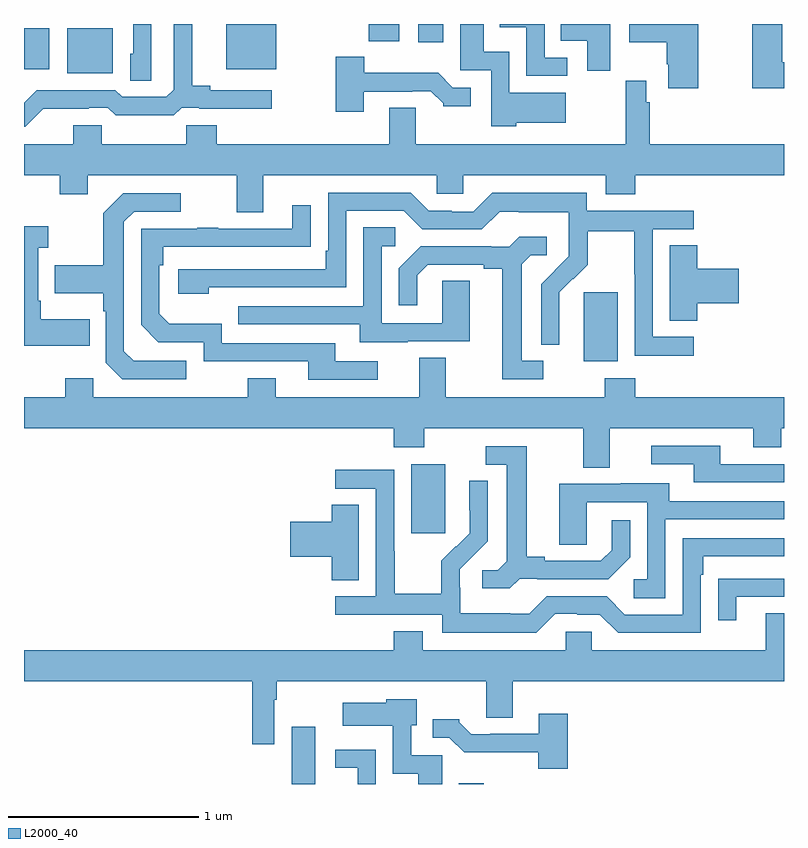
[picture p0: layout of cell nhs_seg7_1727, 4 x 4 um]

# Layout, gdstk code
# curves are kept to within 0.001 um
import gdstk
lib = gdstk.Library(unit=1e-6, precision=1e-09)
def R(c, l, rs):  # rectangles x0, y0, x1, y1
    for r in rs: c.add(gdstk.rectangle(r[:2], r[2:], *l))
def P(c, l, *ps):  # polygons
    for p in ps: c.add(gdstk.Polygon(p, *l))
L2000_40 = (2000, 40)

nhs_seg7_1727 = lib.new_cell('nhs_seg7_1727')
R(nhs_seg7_1727, L2000_40, [(228.41,1076,228.532,1076.302), (229.289,1076,229.42,1076.005), (229.037,1077.321,229.216,1077.682), (229.946,1078.226,230.125,1078.587), (227.228,1079.741,227.467,1079.977), (227,1079.762,227.134,1079.977), (228.065,1079.762,228.328,1080), (229.076,1079.904,229.207,1080), (228.814,1079.909,228.976,1080)])
P(nhs_seg7_1727, L2000_40, [(230.086,1079.998),(230.084,1080),(229.825,1080),(229.825,1079.912),(229.964,1079.912),(229.964,1079.754),(230.086,1079.754)],
  [(227.102,1079.555),(227.342,1079.555),(227.342,1079.559),(227.442,1079.559),(227.482,1079.52),(227.789,1079.52),(227.829,1079.559),(227.923,1079.559),(227.923,1079.555),(228.304,1079.555),(228.304,1079.652),(227.98,1079.652),(227.98,1079.675),(227.885,1079.675),(227.885,1080),(227.787,1080),(227.787,1079.655),(227.748,1079.616),(227.517,1079.616),(227.481,1079.652),(227.067,1079.652),(227,1079.585),(227,1079.46),(227.007,1079.46)],
  [(231,1079.798),(230.992,1079.798),(230.992,1080),(230.834,1080),(230.834,1079.662),(231,1079.662)],
  [(230.548,1080),(230.186,1080),(230.186,1079.903),(230.383,1079.903),(230.383,1079.788),(230.39,1079.788),(230.39,1079.661),(230.548,1079.661)],
  [(227.67,1080),(227.574,1080),(227.574,1079.844),(227.558,1079.844),(227.558,1079.701),(227.67,1079.701)],
  [(229.858,1079.823),(229.74,1079.823),(229.74,1080),(229.505,1080),(229.505,1079.984),(229.644,1079.984),(229.644,1079.727),(229.858,1079.727)],
  [(229.59,1079.48),(229.852,1079.48),(229.852,1079.638),(229.554,1079.638),(229.554,1079.854),(229.42,1079.854),(229.42,1080),(229.295,1080),(229.295,1079.757),(229.458,1079.757),(229.458,1079.462),(229.59,1079.462)],
  [(228.787,1079.643),(229.043,1079.643),(229.043,1079.646),(229.142,1079.646),(229.206,1079.582),(229.206,1079.567),(229.351,1079.567),(229.351,1079.664),(229.257,1079.664),(229.179,1079.743),(228.79,1079.743),(228.79,1079.827),(228.64,1079.827),(228.64,1079.538),(228.787,1079.538)],
  [(228.259,1079.204),(229.173,1079.204),(229.173,1079.106),(229.311,1079.106),(229.311,1079.204),(230.063,1079.204),(230.063,1079.105),(230.216,1079.105),(230.216,1079.204),(231,1079.204),(231,1079.368),(230.294,1079.368),(230.294,1079.588),(230.274,1079.588),(230.274,1079.701),(230.166,1079.701),(230.166,1079.368),(229.063,1079.368),(229.063,1079.558),(228.923,1079.558),(228.923,1079.368),(228.014,1079.368),(228.014,1079.466),(227.854,1079.466),(227.854,1079.368),(227.409,1079.368),(227.409,1079.466),(227.258,1079.466),(227.258,1079.368),(227,1079.368),(227,1079.204),(227.188,1079.204),(227.188,1079.105),(227.335,1079.105),(227.335,1079.204),(228.119,1079.204),(228.119,1079.01),(228.259,1079.01)],
  [(230.524,1078.353),(230.31,1078.353),(230.31,1078.92),(230.524,1078.92),(230.524,1079.016),(229.962,1079.016),(229.962,1079.113),(229.465,1079.113),(229.365,1079.013),(229.25,1079.013),(229.25,1079.016),(229.131,1079.016),(229.035,1079.112),(228.6,1079.112),(228.6,1078.807),(228.587,1078.807),(228.587,1078.71),(227.811,1078.71),(227.811,1078.58),(227.972,1078.58),(227.972,1078.614),(228.696,1078.614),(228.696,1079.016),(228.999,1079.016),(229.095,1078.92),(229.41,1078.92),(229.503,1079.013),(229.603,1079.013),(229.603,1079.009),(229.866,1079.009),(229.866,1078.875),(229.868,1078.875),(229.868,1078.778),(229.722,1078.63),(229.722,1078.312),(229.818,1078.312),(229.817,1078.589),(229.887,1078.659),(229.89,1078.656),(229.967,1078.733),(229.967,1078.908),(230.212,1078.908),(230.212,1078.684),(230.214,1078.684),(230.214,1078.255),(230.524,1078.255)],
  [(227.854,1078.227),(227.577,1078.227),(227.526,1078.278),(227.526,1078.959),(227.58,1079.013),(227.824,1079.013),(227.824,1079.109),(227.523,1079.109),(227.418,1079.003),(227.418,1078.731),(227.161,1078.731),(227.161,1078.583),(227.418,1078.583),(227.418,1078.487),(227.43,1078.487),(227.43,1078.218),(227.517,1078.131),(227.854,1078.131)],
  [(228.862,1078.224),(228.637,1078.224),(228.637,1078.32),(228.042,1078.32),(228.042,1078.423),(227.765,1078.423),(227.712,1078.476),(227.712,1078.73),(227.732,1078.73),(227.732,1078.827),(228.509,1078.828),(228.509,1079.047),(228.413,1079.047),(228.413,1078.923),(228.023,1078.923),(228.023,1078.928),(227.911,1078.928),(227.911,1078.923),(227.616,1078.923),(227.616,1078.416),(227.706,1078.326),(227.946,1078.326),(227.946,1078.224),(228.497,1078.224),(228.497,1078.128),(228.862,1078.128)],
  [(227.345,1078.447),(227.089,1078.447),(227.089,1078.543),(227.076,1078.543),(227.076,1078.823),(227.128,1078.823),(227.128,1078.936),(227,1078.936),(227,1078.307),(227.345,1078.307)],
  [(229.021,1078.329),(229.345,1078.329),(229.345,1078.649),(229.2,1078.649),(229.2,1078.425),(228.882,1078.425),(228.882,1078.83),(228.955,1078.83),(228.955,1078.931),(228.786,1078.931),(228.786,1078.515),(228.127,1078.515),(228.127,1078.419),(228.767,1078.419),(228.767,1078.325),(229.021,1078.325)],
  [(229.732,1078.227),(229.621,1078.227),(229.621,1078.735),(229.668,1078.782),(229.75,1078.782),(229.75,1078.879),(229.606,1078.879),(229.554,1078.827),(229.46,1078.827),(229.46,1078.83),(229.088,1078.83),(228.972,1078.714),(228.972,1078.521),(229.069,1078.521),(229.069,1078.677),(229.126,1078.734),(229.421,1078.734),(229.421,1078.712),(229.517,1078.712),(229.517,1078.131),(229.732,1078.131)],
  [(230.543,1078.529),(230.761,1078.529),(230.761,1078.712),(230.543,1078.712),(230.543,1078.835),(230.399,1078.835),(230.399,1078.438),(230.543,1078.438)],
  [(230.083,1077.872),(230.837,1077.872),(230.837,1077.773),(230.985,1077.773),(230.985,1077.872),(231,1077.872),(231,1078.036),(230.216,1078.036),(230.216,1078.135),(230.056,1078.135),(230.056,1078.036),(229.219,1078.036),(229.219,1078.244),(229.079,1078.244),(229.079,1078.036),(228.325,1078.036),(228.325,1078.135),(228.178,1078.135),(228.178,1078.036),(227.364,1078.036),(227.364,1078.135),(227.218,1078.135),(227.218,1078.036),(227,1078.036),(227,1077.872),(228.947,1077.872),(228.947,1077.773),(229.107,1077.773),(229.107,1077.872),(229.943,1077.872),(229.943,1077.664),(230.083,1077.664)],
  [(231,1077.684),(230.665,1077.684),(230.665,1077.78),(230.301,1077.78),(230.301,1077.684),(230.525,1077.684),(230.525,1077.588),(231,1077.588)],
  [(229.608,1077.081),(229.702,1077.081),(229.702,1077.078),(230.074,1077.078),(230.19,1077.194),(230.19,1077.388),(230.093,1077.388),(230.093,1077.231),(230.036,1077.174),(229.741,1077.174),(229.741,1077.197),(229.645,1077.197),(229.645,1077.777),(229.431,1077.777),(229.431,1077.681),(229.541,1077.681),(229.541,1077.173),(229.494,1077.126),(229.413,1077.126),(229.413,1077.029),(229.556,1077.029)],
  [(229.797,1076.895),(229.913,1076.895),(229.913,1076.892),(230.031,1076.892),(230.127,1076.796),(230.562,1076.796),(230.562,1077.101),(230.575,1077.101),(230.575,1077.198),(231,1077.198),(231,1077.294),(230.466,1077.294),(230.466,1076.892),(230.163,1076.892),(230.067,1076.988),(229.752,1076.988),(229.659,1076.895),(229.559,1076.895),(229.559,1076.899),(229.296,1076.899),(229.296,1077.033),(229.294,1077.033),(229.294,1077.13),(229.44,1077.278),(229.44,1077.596),(229.344,1077.596),(229.344,1077.442),(229.346,1077.442),(229.346,1077.32),(229.275,1077.249),(229.272,1077.252),(229.195,1077.175),(229.195,1077.001),(228.951,1077.001),(228.951,1077.224),(228.948,1077.224),(228.948,1077.654),(228.639,1077.654),(228.639,1077.555),(228.852,1077.555),(228.852,1076.988),(228.639,1076.988),(228.639,1076.892),(229.2,1076.892),(229.2,1076.795),(229.697,1076.795)],
  [(230.376,1077.393),(231,1077.393),(231,1077.489),(230.395,1077.489),(230.395,1077.583),(230.141,1077.583),(230.141,1077.579),(229.817,1077.579),(229.817,1077.259),(229.962,1077.259),(229.962,1077.483),(230.28,1077.483),(230.28,1077.078),(230.208,1077.078),(230.208,1076.977),(230.376,1076.977)],
  [(228.763,1077.47),(228.62,1077.47),(228.62,1077.38),(228.402,1077.38),(228.402,1077.197),(228.62,1077.197),(228.62,1077.073),(228.763,1077.073)],
  [(230.749,1076.985),(231,1076.985),(231,1077.081),(230.755,1077.081),(230.755,1077.08),(230.653,1077.08),(230.653,1076.862),(230.749,1076.862)],
  [(228.318,1076.444),(228.331,1076.444),(228.331,1076.54),(229.433,1076.54),(229.433,1076.35),(229.573,1076.35),(229.573,1076.54),(231,1076.54),(231,1076.899),(230.903,1076.899),(230.903,1076.704),(229.989,1076.704),(229.989,1076.802),(229.851,1076.802),(229.851,1076.704),(229.099,1076.704),(229.099,1076.803),(228.947,1076.803),(228.947,1076.704),(227,1076.704),(227,1076.54),(228.202,1076.54),(228.202,1076.208),(228.318,1076.208)],
  [(229.201,1076.151),(229.038,1076.151),(229.038,1076.31),(229.066,1076.31),(229.066,1076.446),(228.906,1076.446),(228.906,1076.428),(228.678,1076.428),(228.678,1076.306),(228.942,1076.306),(228.942,1076.054),(229.076,1076.054),(229.076,1076),(229.201,1076)],
  [(229.862,1076.371),(229.709,1076.371),(229.709,1076.265),(229.453,1076.265),(229.453,1076.262),(229.354,1076.262),(229.29,1076.326),(229.29,1076.341),(229.151,1076.341),(229.151,1076.244),(229.239,1076.244),(229.318,1076.166),(229.707,1076.166),(229.707,1076.081),(229.862,1076.081)],
  [(228.852,1076.181),(228.639,1076.181),(228.639,1076.085),(228.756,1076.085),(228.756,1076),(228.852,1076)])

lib.write_gds('nhs_seg7_1727.gds')
